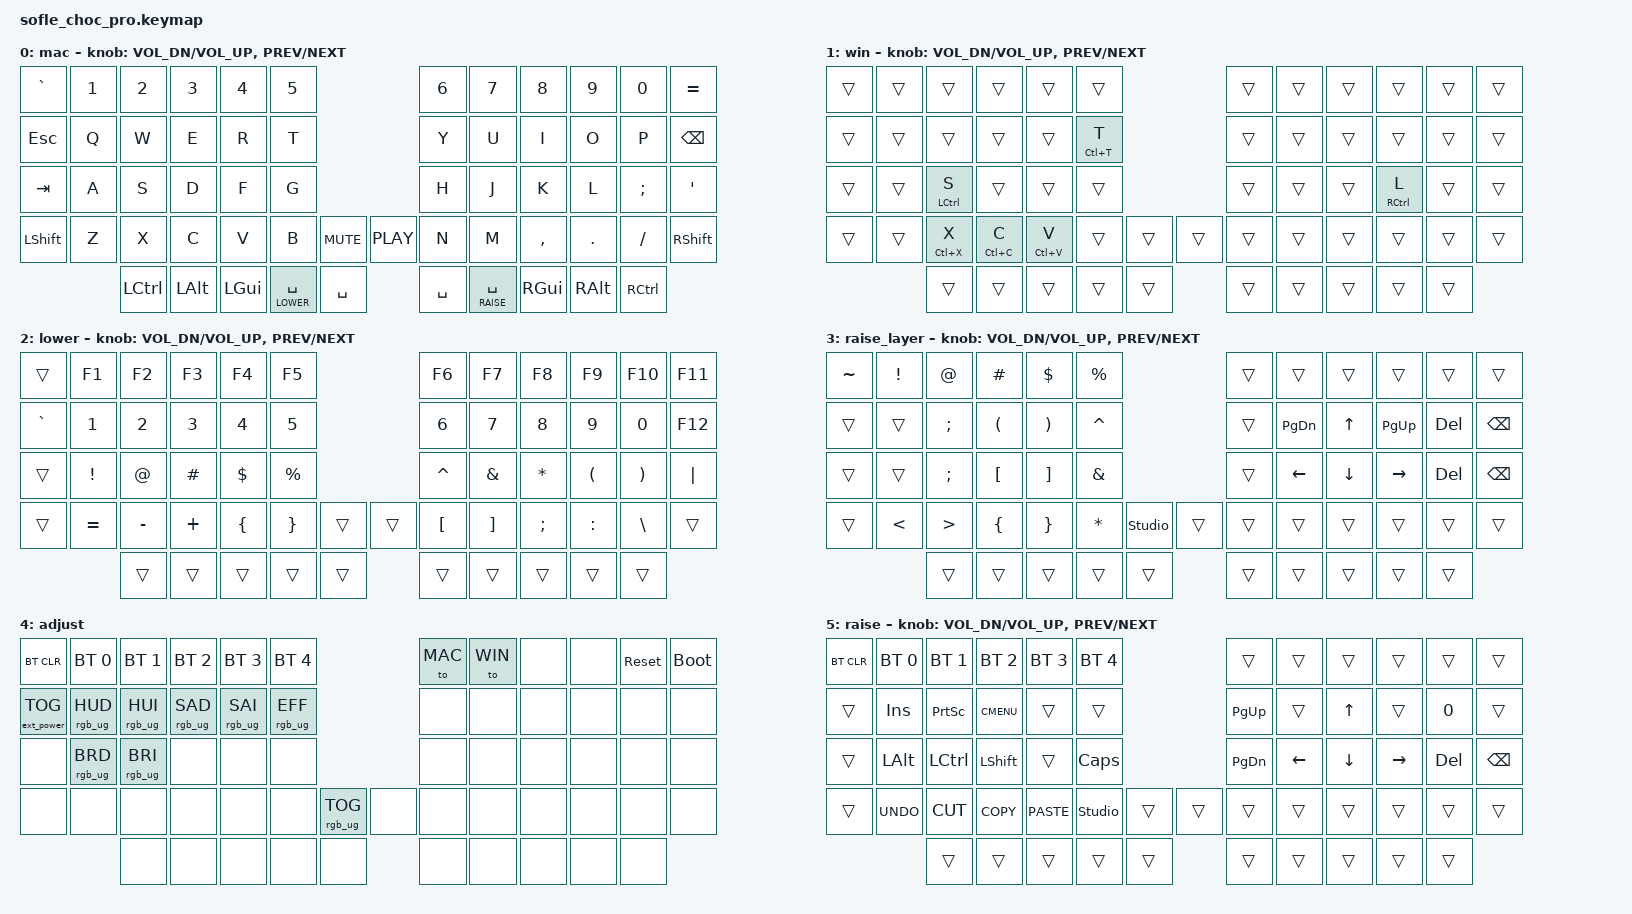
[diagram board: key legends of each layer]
/*
* Copyright (c) 2020 The ZMK Contributors
*
* SPDX-License-Identifier: MIT
*/

#include <behaviors.dtsi>
#include <dt-bindings/zmk/bt.h>
#include <dt-bindings/zmk/ext_power.h>
#include <dt-bindings/zmk/keys.h>
#include <dt-bindings/zmk/rgb.h>

#define MAC 0
#define WIN 1
#define LOWER 2
#define RAISE 3
#define ADJUST 4

/ {
    // Activate ADJUST layer by pressing raise and lower

    conditional_layers {
        compatible = "zmk,conditional-layers";

        adjust_layer {
            if-layers = <LOWER RAISE>;
            then-layer = <ADJUST>;
        };
    };

    behaviors {
        DTAPunderscore: DTAPunderscore {
            compatible = "zmk,behavior-tap-dance";
            label = "DTAPUNDERSCORE";
            #binding-cells = <0>;
            bindings = <&kp MINUS>, <&kp UNDERSCORE>;
        };

        DTAPsemicolon: DTAPsemicolon {
            compatible = "zmk,behavior-tap-dance";
            label = "DTAPSEMICOLON";
            #binding-cells = <0>;
            bindings = <&kp KP_COMMA>, <&kp SEMICOLON>;
        };

        DTAPcolon: DTAPcolon {
            compatible = "zmk,behavior-tap-dance";
            label = "DTAPCOLON";
            #binding-cells = <0>;
            bindings = <&kp KP_DOT>, <&kp COLON>;
        };

        longPress: longPress {
            compatible = "zmk,behavior-hold-tap";
            label = "LONGPRESS";
            bindings = <&kp>, <&kp>;

            #binding-cells = <2>;
            tapping-term-ms = <350>;
            flavor = "tap-preferred";
        };

        HMShiftR: HMShiftR {
            compatible = "zmk,behavior-hold-tap";
            label = "HMSHIFTR";
            bindings = <&kp>, <&kp>;

            #binding-cells = <2>;
            tapping-term-ms = <200>;
            hold-trigger-on-release;
            hold-trigger-key-positions = <0 1 2 3 4 5 12 13 14 15 16 17 24 25 26 27 28 29 36 37 38 39 40 41 42 50 51 52 53 54>;
            quick-tap-ms = <100>;
            flavor = "hold-preferred";
        };

        HMShiftL: HMShiftL {
            compatible = "zmk,behavior-hold-tap";
            label = "HMSHIFTL";
            bindings = <&kp>, <&kp>;

            #binding-cells = <2>;
            tapping-term-ms = <200>;
            hold-trigger-on-release;
            hold-trigger-key-positions = <6 7 8 9 10 11 18 19 20 21 22 23 30 31 32 33 34 35 43 44 45 46 47 48 49 55 56 57 58 59>;
            quick-tap-ms = <100>;
            flavor = "hold-preferred";
        };

        HMR: HMR {
            compatible = "zmk,behavior-hold-tap";
            label = "HMR";
            bindings = <&kp>, <&kp>;

            #binding-cells = <2>;
            tapping-term-ms = <200>;
            hold-trigger-on-release;
            hold-trigger-key-positions = <0 1 2 3 4 5 12 13 14 15 16 17 24 25 26 27 28 29 36 37 38 39 40 41 42 50 51 52 53 54>;
            flavor = "tap-preferred";
            quick-tap-ms = <100>;
        };

        HML: HML {
            compatible = "zmk,behavior-hold-tap";
            label = "HML";
            bindings = <&kp>, <&kp>;

            #binding-cells = <2>;
            tapping-term-ms = <200>;
            hold-trigger-on-release;
            hold-trigger-key-positions = <6 7 8 9 10 11 18 19 20 21 22 23 30 31 32 33 34 35 43 44 45 46 47 48 49 55 56 57 58 59>;
            flavor = "tap-preferred";
            quick-tap-ms = <100>;
        };
    };

    keymap {
        compatible = "zmk,keymap";

        mac_layer {
            display-name = "mac";

            // ------------------------------------------------------------------------------------------------------------
            // |   `   |  1  |  2  |  3   |  4   |  5   |                   |  6   |  7    |  8    |  9   |   0   |   =   |
            // |  ESC  |  Q  |  W  |  E   |  R   |  T   |                   |  Y   |  U    |  I    |  O   |   P   | BKSPC |
            // |  TAB  |  A  |  S  |  D   |  F   |  G   |                   |  H   |  J    |  K    |  L   |   ;   |   '   |
            // | SHIFT |  Z  |  X  |  C   |  V   |  B   |  MUTE  |  | PLAY  |  N   |  M    |  ,    |  .   |   /   | SHIFT |
            //               | CTRL| OPT  | CMD  | LOWER| SPACE  |  | SPACE | RAISE| CMD   | OPT   | CTRL |

            bindings = <
&kp GRAVE  &kp N1  &kp N2     &kp N3     &kp N4    &kp N5                        &kp N6     &kp N7     &kp N8    &kp N9    &kp N0    &kp EQUAL
&kp ESC    &kp Q   &kp W      &kp E      &kp R     &kp T                         &kp Y      &kp U      &kp I     &kp O     &kp P     &kp BSPC
&kp TAB    &kp A   &kp S      &kp D      &kp F     &kp G                         &kp H      &kp J      &kp K     &kp L     &kp SEMI  &kp SQT
&kp LSHFT  &kp Z   &kp X      &kp C      &kp V     &kp B      &kp C_MUTE  &kp C_PLAY  &kp N      &kp M      &kp COMMA  &kp DOT   &kp FSLH  &kp RSHFT
                   &kp LCTRL  &kp LALT   &kp LGUI  &lt LOWER SPACE  &kp SPACE  &kp SPACE  &lt RAISE SPACE  &kp RGUI  &kp RALT  &kp RCTRL
            >;

            sensor-bindings = <&inc_dec_kp C_VOL_DN C_VOL_UP &inc_dec_kp C_PREV C_NEXT>;
        };

        win_layer {
            display-name = "win";
            bindings = <
&trans  &trans  &trans              &trans              &trans              &trans                              &trans  &trans  &trans  &trans        &trans  &trans
&trans  &trans  &trans              &trans              &trans              &longPress LC(T) T  &trans                  &trans  &trans  &trans        &trans  &trans
&trans  &trans  &HML LCTRL S        &trans              &trans              &trans              &trans                  &trans  &trans  &HMR RCTRL L  &trans  &trans
&trans  &trans  &longPress LC(X) X  &longPress LC(C) C  &longPress LC(V) V  &trans              &trans  &trans  &trans  &trans  &trans  &trans        &trans  &trans
                &trans              &trans              &trans              &trans              &trans  &trans  &trans  &trans  &trans  &trans
            >;

            sensor-bindings =
                <&inc_dec_kp C_VOL_DN C_VOL_UP>,
                <&inc_dec_kp C_PREV C_NEXT>;
        };

        lower_layer {
            display-name = "lower";

            // ------------------------------------------------------------------------------------------------------------
            // |       |  F1 |  F2 |  F3  |  F4  |  F5  |                   |  F6  |  F7   |  F8   |  F9  |  F10  |  F11  |
            // |   `   |  1  |  2  |  3   |  4   |  5   |                   |  6   |  7    |  8    |  9   |   0   |  F12  |
            // |       |  !  |  @  |  #   |  $   |  %   |                   |  ^   |  &    |  *    |  (   |   )   |   |   |
            // |       |  =  |  -  |  +   |  {   |  }   |        |  |       |  [   |  ]    |  ;    |  :   |   \   |       |
            //               |     |      |      |      |        |  |       |      |       |       |      |

            bindings = <
&trans     &kp F1     &kp F2     &kp F3    &kp F4    &kp F5                        &kp F6    &kp F7    &kp F8     &kp F9     &kp F10   &kp F11
&kp GRAVE  &kp N1     &kp N2     &kp N3    &kp N4    &kp N5     &kp N6                       &kp N7    &kp N8     &kp N9     &kp N0    &kp F12
&trans     &kp EXCL   &kp AT     &kp HASH  &kp DLLR  &kp PRCNT  &kp CARET                    &kp AMPS  &kp ASTRK  &kp LPAR   &kp RPAR  &kp PIPE
&trans     &kp EQUAL  &kp MINUS  &kp PLUS  &kp LBRC  &kp RBRC   &trans     &trans  &kp LBKT  &kp RBKT  &kp SEMI   &kp COLON  &kp BSLH  &trans
                      &trans     &trans    &trans    &trans     &trans     &trans  &trans    &trans    &trans     &trans
            >;

            sensor-bindings = <&inc_dec_kp C_VOL_DN C_VOL_UP &inc_dec_kp C_PREV C_NEXT>;
        };

        raise_layer {
            display-name = "raise_layer";
            bindings = <
&kp TILDE  &kp EXCLAMATION  &kp AT_SIGN       &kp HASH              &kp DOLLAR             &kp PERCENT                            &trans  &trans     &trans    &trans     &trans   &trans
&trans     &trans           &kp SEMI          &kp LEFT_PARENTHESIS  &kp RIGHT_PARENTHESIS  &kp CARET      &trans                          &kp PG_DN  &kp UP    &kp PG_UP  &kp DEL  &kp BSPC
&trans     &trans           &kp SEMI          &kp LBKT              &kp RBKT               &kp AMPERSAND  &trans                          &kp LEFT   &kp DOWN  &kp RIGHT  &kp DEL  &kp BSPC
&trans     &kp LESS_THAN    &kp GREATER_THAN  &kp LEFT_BRACE        &kp RIGHT_BRACE        &kp ASTERISK   &studio_unlock  &trans  &trans  &trans     &trans    &trans     &trans   &trans
                            &trans            &trans                &trans                 &trans         &trans          &trans  &trans  &trans     &trans    &trans
            >;

            sensor-bindings =
                <&inc_dec_kp C_VOL_DN C_VOL_UP>,
                <&inc_dec_kp C_PREV C_NEXT>;

            label = "raise";
        };

        adjust_layer {
            // ----------------------------------------------------------------------------------------------------------------------------
            // | BTCLR  |  BT1    |  BT2    |   BT3   |   BT4   |   BT5   |                  | MAC  | WIN  |       |      | RESET | BOOT  |
            // | EXTPWR | RGB_HUD | RGB_HUI | RGB_SAD | RGB_SAI | RGB_EFF |                  |      |      |       |      |       |       |
            // |        | RGB_BRD | RGB_BRI |         |         |         |                  |      |      |       |      |       |       |
            // |        |         |         |         |         |         | RGB_TOG | |      |      |      |       |      |       |       |
            //                    |         |         |         |         |         | |      |      |      |       |      |

            display-name = "adjust";
            bindings = <
&bt BT_CLR         &bt BT_SEL 0     &bt BT_SEL 1     &bt BT_SEL 2     &bt BT_SEL 3     &bt BT_SEL 4                             &to MAC  &to WIN  &none  &none  &sys_reset  &bootloader
&ext_power EP_TOG  &rgb_ug RGB_HUD  &rgb_ug RGB_HUI  &rgb_ug RGB_SAD  &rgb_ug RGB_SAI  &rgb_ug RGB_EFF  &none                          &none  &none  &none  &none  &none
&none              &rgb_ug RGB_BRD  &rgb_ug RGB_BRI  &none            &none            &none            &none                          &none  &none  &none  &none  &none
&none              &none            &none            &none            &none            &none            &rgb_ug RGB_TOG  &none  &none  &none  &none  &none  &none  &none
                                    &none            &none            &none            &none            &none            &none  &none  &none  &none  &none
            >;
        };

        raise_layer_old {
            display-name = "raise";

            // ------------------------------------------------------------------------------------------------------------
            // | BTCLR | BT1  | BT2  |  BT3  |  BT4  |  BT5 |                |      |      |       |      |       |       |
            // |       | INS  | PSCR | GUI   |       |      |                | PGUP |      |   ^   |      |       |       |
            // |       | ALT  | CTRL | SHIFT |       | CAPS |                | PGDN |   <- |   v   |  ->  |  DEL  | BKSPC |
            // |       | UNDO | CUT  | COPY  | PASTE |      |      |  |      |      |      |       |      |       |       |
            //                |      |       |       |      |      |  |      |      |      |       |      |

            bindings = <
&bt BT_CLR  &bt BT_SEL 0  &bt BT_SEL 1  &bt BT_SEL 2  &bt BT_SEL 3  &bt BT_SEL 4                       &trans  &trans    &trans    &trans     &trans   &trans
&trans      &kp INS       &kp PSCRN     &kp K_CMENU   &trans        &trans          &kp PG_UP                  &trans    &kp UP    &trans     &kp N0   &trans
&trans      &kp LALT      &kp LCTRL     &kp LSHFT     &trans        &kp CLCK        &kp PG_DN                  &kp LEFT  &kp DOWN  &kp RIGHT  &kp DEL  &kp BSPC
&trans      &kp K_UNDO    &kp K_CUT     &kp K_COPY    &kp K_PASTE   &studio_unlock  &trans     &trans  &trans  &trans    &trans    &trans     &trans   &trans
                          &trans        &trans        &trans        &trans          &trans     &trans  &trans  &trans    &trans    &trans
            >;

            sensor-bindings = <&inc_dec_kp C_VOL_DN C_VOL_UP &inc_dec_kp C_PREV C_NEXT>;
            label = "raise_old";
        };
    };
};
